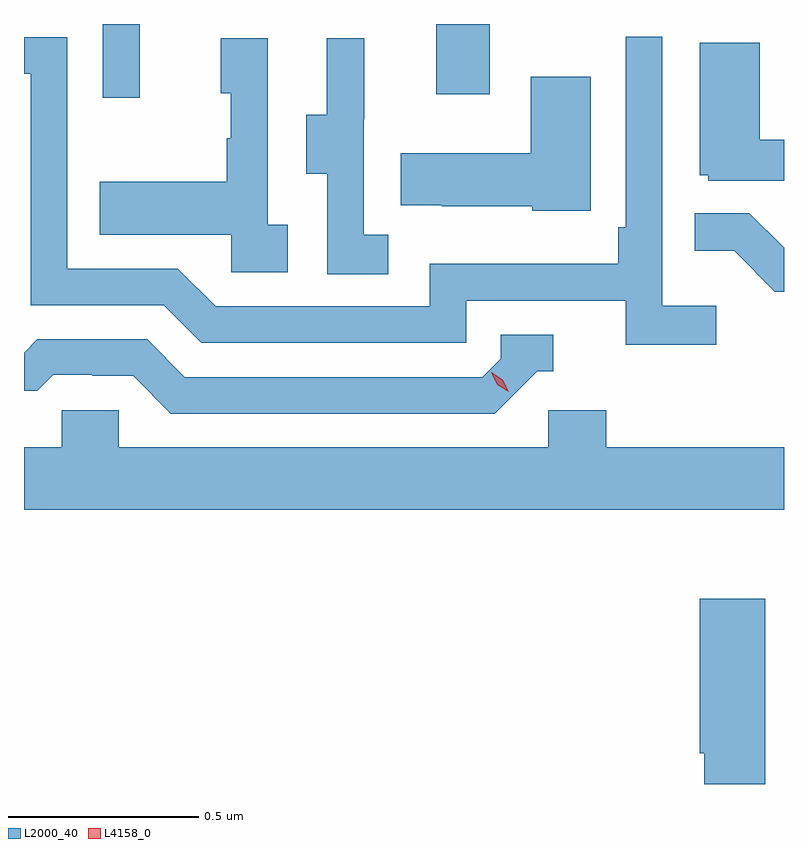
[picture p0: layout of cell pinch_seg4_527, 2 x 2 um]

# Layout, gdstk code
import gdstk
lib = gdstk.Library(unit=1e-6, precision=1e-09)
def R(c, l, rs):  # rectangles x0, y0, x1, y1
    for r in rs: c.add(gdstk.rectangle(r[:2], r[2:], *l))
def P(c, l, *ps):  # polygons
    for p in ps: c.add(gdstk.Polygon(p, *l))
L2000_40 = (2000, 40)
L4158_0 = (4158, 0)

pinch_seg4_527 = lib.new_cell('pinch_seg4_527')
R(pinch_seg4_527, L2000_40, [(995.163,763.272,995.261,763.466), (996.041,763.281,996.181,763.466)])
P(pinch_seg4_527, L2000_40, [(996.778,762.724),(996.636,762.724),(996.636,763.432),(996.54,763.432),(996.54,762.931),(996.52,762.931),(996.52,762.835),(996.024,762.835),(996.024,762.723),(995.46,762.723),(995.361,762.822),(995.07,762.822),(995.07,763.431),(994.956,763.431),(994.956,763.335),(994.974,763.335),(994.974,762.726),(995.324,762.726),(995.423,762.627),(996.12,762.627),(996.12,762.738),(996.539,762.738),(996.539,762.622),(996.778,762.622)],
  [(995.914,762.911),(995.85,762.911),(995.85,763.215),(995.852,763.215),(995.852,763.429),(995.753,763.429),(995.753,763.227),(995.699,763.227),(995.699,763.072),(995.754,763.072),(995.754,762.808),(995.914,762.808)],
  [(995.65,762.938),(995.598,762.938),(995.598,763.429),(995.474,763.429),(995.474,763.284),(995.5,763.284),(995.5,763.166),(995.49,763.166),(995.49,763.051),(995.155,763.051),(995.155,762.911),(995.502,762.911),(995.502,762.813),(995.65,762.813)],
  [(996.956,763.162),(996.892,763.162),(996.892,763.417),(996.734,763.417),(996.734,763.068),(996.756,763.068),(996.756,763.053),(996.956,763.053)],
  [(996.448,763.327),(996.29,763.327),(996.29,763.126),(995.947,763.126),(995.947,762.989),(996.055,762.989),(996.055,762.986),(996.294,762.986),(996.294,762.974),(996.448,762.974)],
  [(996.956,762.877),(996.865,762.968),(996.721,762.968),(996.721,762.869),(996.825,762.869),(996.932,762.762),(996.956,762.762)],
  [(996.306,762.552),(996.349,762.552),(996.349,762.648),(996.21,762.648),(996.21,762.585),(996.162,762.537),(995.379,762.537),(995.28,762.636),(994.991,762.636),(994.956,762.601),(994.956,762.501),(994.991,762.501),(995.033,762.543),(995.136,762.543),(995.136,762.54),(995.243,762.54),(995.342,762.441),(996.195,762.441)],
  [(996.956,762.352),(996.488,762.352),(996.488,762.45),(996.336,762.45),(996.336,762.352),(995.205,762.352),(995.205,762.45),(995.055,762.45),(995.055,762.352),(994.956,762.352),(994.956,762.188),(996.956,762.188)],
  [(996.907,761.953),(996.734,761.953),(996.734,761.547),(996.746,761.547),(996.746,761.466),(996.907,761.466)])
P(pinch_seg4_527, L4158_0, [(996.232,762.498),(996.201,762.517),(996.185,762.55),(996.185,762.55),(996.185,762.55),(996.216,762.53),(996.232,762.498),(996.232,762.498)])

lib.write_gds('pinch_seg4_527.gds')
